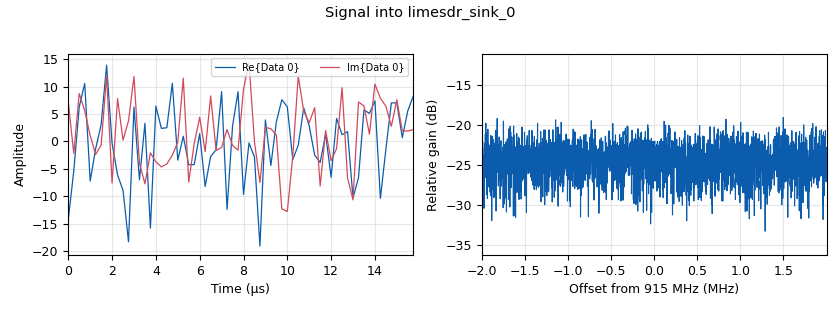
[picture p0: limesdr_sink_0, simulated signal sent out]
options:
  parameters:
    author: Vitor Carvalho
    description: Simple flowchart to transmit an AWGN noise centered in a specific frequency.
    generate_options: no_gui
    id: noise_TX
    output_language: python
    run_options: run
    title: noise generator
  states: {}

blocks:
- name: analog_noise_source_x_0
  id: analog_noise_source_x
  parameters:
    amp: '10'
    noise_type: analog.GR_GAUSSIAN
    seed: noise_seed
    type: complex
  states: {}
- name: center_freq
  id: parameter
  parameters:
    label: 915e6
    type: intx
    value: '915000000'
  states: {}
- name: limesdr_sink_0
  id: limesdr_sink
  parameters:
    allow_tcxo_dac: '0'
    calibr_bandw_ch0: 5e6
    calibr_bandw_ch1: 5e6
    channel_mode: '0'
    dacVal: '125'
    digital_bandw_ch0: '0'
    digital_bandw_ch1: '0'
    gain_dB_ch0: '73'
    gain_dB_ch1: '30'
    oversample: '0'
    pa_path_ch1: '1'
    rf_freq: center_freq
    samp_rate: samp_rate
  states: {}
- name: noise
  id: parameter
  parameters:
    label: noise
    type: eng_float
    value: '1'
  states: {}
- name: noise_seed
  id: parameter
  parameters:
    label: noise_seed
    type: intx
    value: '42'
  states: {}
- name: samp_rate
  id: parameter
  parameters:
    label: samp_rate
    type: intx
    value: '4000000'
  states: {}

connections:
- [analog_noise_source_x_0, '0', limesdr_sink_0, '0']

metadata:
  file_format: 1
